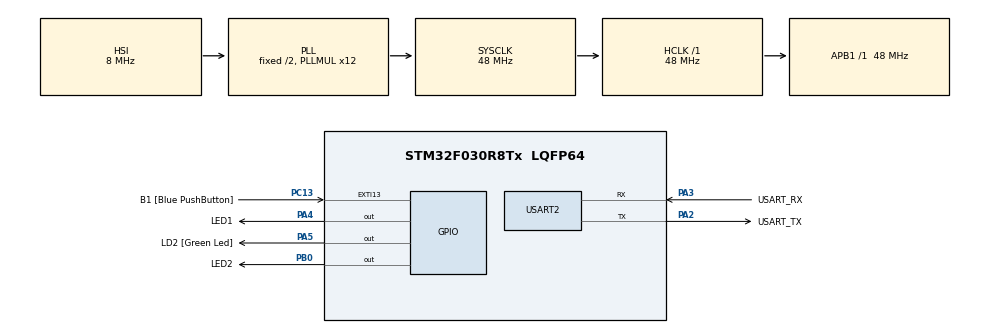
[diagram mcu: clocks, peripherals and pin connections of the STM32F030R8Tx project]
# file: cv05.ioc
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Dma.Request0=USART2_RX
Dma.USART2_RX.0.Direction=DMA_PERIPH_TO_MEMORY
Dma.USART2_RX.0.Instance=DMA1_Channel5
Dma.USART2_RX.0.MemDataAlignment=DMA_MDATAALIGN_BYTE
Dma.USART2_RX.0.MemInc=DMA_MINC_ENABLE
Dma.USART2_RX.0.Mode=DMA_CIRCULAR
Dma.USART2_RX.0.PeriphDataAlignment=DMA_PDATAALIGN_BYTE
Dma.USART2_RX.0.PeriphInc=DMA_PINC_DISABLE
Dma.USART2_RX.0.Priority=DMA_PRIORITY_LOW
Mcu.Family=STM32F0
Mcu.Name=STM32F030R8Tx
Mcu.Package=LQFP64
NVIC.DMA1_Channel4_5_IRQn=true\:0\:0\:false\:false\:true\:false\:true
PA13.GPIO_Label=TMS
PA13.Mode=Serial_Wire
PA13.Signal=SYS_SWDIO
PA14.GPIO_Label=TCK
PA14.Mode=Serial_Wire
PA14.Signal=SYS_SWCLK
PA2.GPIO_Label=USART_TX
PA2.GPIO_Mode=GPIO_MODE_AF_PP
PA2.GPIO_PuPd=GPIO_NOPULL
PA2.GPIO_Speed=GPIO_SPEED_FREQ_LOW
PA2.Mode=Asynchronous
PA2.Signal=USART2_TX
PA3.GPIO_Label=USART_RX
PA3.GPIO_Mode=GPIO_MODE_AF_PP
PA3.GPIO_PuPd=GPIO_NOPULL
PA3.GPIO_Speed=GPIO_SPEED_FREQ_LOW
PA3.Mode=Asynchronous
PA3.Signal=USART2_RX
PA4.GPIO_Label=LED1
PA4.Signal=GPIO_Output
PA5.GPIO_Label=LD2 [Green Led]
PA5.GPIO_Mode=GPIO_MODE_OUTPUT_PP
PA5.GPIO_PuPd=GPIO_NOPULL
PA5.GPIO_Speed=GPIO_SPEED_FREQ_LOW
PA5.Signal=GPIO_Output
PB0.GPIO_Label=LED2
PB0.Signal=GPIO_Output
PC13.GPIO_Label=B1 [Blue PushButton]
PC13.GPIO_ModeDefaultEXTI=GPIO_MODE_IT_FALLING
PC13.Signal=GPXTI13
PC14-OSC32_IN.Mode=LSE-External-Oscillator
PC14-OSC32_IN.Signal=RCC_OSC32_IN
PC15-OSC32_OUT.Mode=LSE-External-Oscillator
PC15-OSC32_OUT.Signal=RCC_OSC32_OUT
PF0-OSC_IN.Mode=HSE-External-Clock-Source
PF0-OSC_IN.Signal=RCC_OSC_IN
PF1-OSC_OUT.Signal=RCC_OSC_OUT
ProjectManager.HeapSize=0x200
ProjectManager.StackSize=0x400
ProjectManager.TargetToolchain=STM32CubeIDE
RCC.AHBFreq_Value=48000000
RCC.APB1Freq_Value=48000000
RCC.APB1TimFreq_Value=48000000
RCC.HCLKFreq_Value=48000000
RCC.PLLMUL=RCC_PLL_MUL12
RCC.SYSCLKFreq_VALUE=48000000
RCC.SYSCLKSource=RCC_SYSCLKSOURCE_PLLCLK
USART2.VirtualMode-Asynchronous=VM_ASYNC
board=NUCLEO-F030R8

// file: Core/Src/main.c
/* USER CODE BEGIN Header */
/**
  ******************************************************************************
  * @file           : main.c
  * @brief          : Main program body
  ******************************************************************************
  * @attention
  *
  * <h2><center>&copy; Copyright (c) 2020 STMicroelectronics.
  * All rights reserved.</center></h2>
  *
  * This software component is licensed by ST under BSD 3-Clause license,
  * the "License"; You may not use this file except in compliance with the
  * License. You may obtain a copy of the License at:
  *                        opensource.org/licenses/BSD-3-Clause
  *
  ******************************************************************************
  */
/* USER CODE END Header */

#include "main.h"

/* USER CODE BEGIN Includes */
#include <stdio.h>
#include <string.h>
/* USER CODE END Includes */

/* USER CODE BEGIN PD */
#define RX_BUFFER_LEN 64
#define CMD_BUFFER_LEN 256
#define TIMEOUT 2000
/* USER CODE END PD */

/* USER CODE BEGIN PM */
#define uart_rx_write_ptr (RX_BUFFER_LEN - hdma_usart2_rx.Instance->CNDTR)
/* USER CODE END PM */

UART_HandleTypeDef huart2;
DMA_HandleTypeDef hdma_usart2_rx;

void SystemClock_Config(void);
static void MX_GPIO_Init(void);
static void MX_DMA_Init(void);
static void MX_USART2_UART_Init(void);

/* USER CODE BEGIN 0 */
uint8_t c;
static uint8_t uart_rx_buf[RX_BUFFER_LEN];
static volatile uint16_t uart_rx_read_ptr = 0;
static uint16_t time;

int _write(int file, char const *buf, int n)
{
 /* stdout redirection to UART2 */
 HAL_UART_Transmit(&huart2, (uint8_t*)(buf), n, HAL_MAX_DELAY);
 return n;
}

static void uart_process_command(char *cmd)
{
	printf("prijato: '%s'\n", cmd);

	char *token;
	token = strtok(cmd, " ");
	if (strcasecmp(token, "HELLO") == 0) {
		printf("Komunikace OK\n");
	}
	else if (strcasecmp(token, "LED1") == 0)
	{
		printf("OK\n");
		token = strtok (NULL, " ");
		//token = strtok(cmd, " ");
		if (strcasecmp(token, "ON") == 0)
		{
			HAL_GPIO_WritePin(LED1_GPIO_Port, LED1_Pin, 1);
			printf("OK sviti\n");
		}
		else if (strcasecmp(token, "OFF") == 0)
		{
			HAL_GPIO_WritePin(LED1_GPIO_Port, LED1_Pin, 0);
			printf("OK nesviti\n");
		}
	}
	else if (strcasecmp(token, "LED2") == 0)
	printf("OK\n");
	{
		token = strtok (NULL, " ");
		//token = strtok(cmd, " ");
		if (strcasecmp(token, "ON") == 0)
		{
			HAL_GPIO_WritePin(LED2_GPIO_Port, LED2_Pin, 1);
			printf("OK sviti\n");
		}
		else if (strcasecmp(token, "OFF") == 0)
		{
			HAL_GPIO_WritePin(LED2_GPIO_Port, LED2_Pin, 0);
			printf("OK nesviti\n");
		}
	}

}

static void uart_byte_available(uint8_t c)
{

		static uint16_t cnt;

		static char data[CMD_BUFFER_LEN];
		if (cnt < CMD_BUFFER_LEN && (c >= 32 && c <= 126)) data[cnt++] = c;
		if (c == '\n' || c == '\r') {
			data[cnt] = '\0';
			uart_process_command(data);
			cnt = 0;
		}
		if (HAL_GetTick() > time + TIMEOUT)
		{
			for(uint16_t i; i < CMD_BUFFER_LEN; i++)
			{
				data[i] = 0;
			}
		}

}
/* USER CODE END 0 */

int main(void)
{

  /* MCU Configuration--------------------------------------------------------*/

  /* Reset of all peripherals, Initializes the Flash interface and the Systick. */
  HAL_Init();

  /* Configure the system clock */
  SystemClock_Config();

  /* Initialize all configured peripherals */
  MX_GPIO_Init();
  MX_DMA_Init();
  MX_USART2_UART_Init();
  /* USER CODE BEGIN 2 */
  HAL_UART_Receive_DMA(&huart2, uart_rx_buf, RX_BUFFER_LEN);
  /* USER CODE END 2 */

  /* Infinite loop */
  /* USER CODE BEGIN WHILE */
  while (1)
  {

	  while (uart_rx_read_ptr != uart_rx_write_ptr) {
		  uint8_t b = uart_rx_buf[uart_rx_read_ptr];
		  if (++uart_rx_read_ptr >= RX_BUFFER_LEN) uart_rx_read_ptr = 0; // increase read pointer
		  {
			  uart_byte_available(b); // process every received byte with the RX state machine
			  time = HAL_GetTick();
		  }
	  }

	  /* USER CODE END WHILE */

  }
}

void SystemClock_Config(void)
{
  RCC_OscInitTypeDef RCC_OscInitStruct = {0};
  RCC_ClkInitTypeDef RCC_ClkInitStruct = {0};

  /** Initializes the CPU, AHB and APB busses clocks
  */
  RCC_OscInitStruct.OscillatorType = RCC_OSCILLATORTYPE_HSI;
  RCC_OscInitStruct.HSIState = RCC_HSI_ON;
  RCC_OscInitStruct.HSICalibrationValue = RCC_HSICALIBRATION_DEFAULT;
  RCC_OscInitStruct.PLL.PLLState = RCC_PLL_ON;
  RCC_OscInitStruct.PLL.PLLSource = RCC_PLLSOURCE_HSI;
  RCC_OscInitStruct.PLL.PLLMUL = RCC_PLL_MUL12;
  RCC_OscInitStruct.PLL.PREDIV = RCC_PREDIV_DIV1;
  if (HAL_RCC_OscConfig(&RCC_OscInitStruct) != HAL_OK)
  {
    Error_Handler();
  }
  /** Initializes the CPU, AHB and APB busses clocks
  */
  RCC_ClkInitStruct.ClockType = RCC_CLOCKTYPE_HCLK|RCC_CLOCKTYPE_SYSCLK
                              |RCC_CLOCKTYPE_PCLK1;
  RCC_ClkInitStruct.SYSCLKSource = RCC_SYSCLKSOURCE_PLLCLK;
  RCC_ClkInitStruct.AHBCLKDivider = RCC_SYSCLK_DIV1;
  RCC_ClkInitStruct.APB1CLKDivider = RCC_HCLK_DIV1;

  if (HAL_RCC_ClockConfig(&RCC_ClkInitStruct, FLASH_LATENCY_1) != HAL_OK)
  {
    Error_Handler();
  }
}

static void MX_USART2_UART_Init(void)
{

  huart2.Instance = USART2;
  huart2.Init.BaudRate = 38400;
  huart2.Init.WordLength = UART_WORDLENGTH_8B;
  huart2.Init.StopBits = UART_STOPBITS_1;
  huart2.Init.Parity = UART_PARITY_NONE;
  huart2.Init.Mode = UART_MODE_TX_RX;
  huart2.Init.HwFlowCtl = UART_HWCONTROL_NONE;
  huart2.Init.OverSampling = UART_OVERSAMPLING_16;
  huart2.Init.OneBitSampling = UART_ONE_BIT_SAMPLE_DISABLE;
  huart2.AdvancedInit.AdvFeatureInit = UART_ADVFEATURE_NO_INIT;
  if (HAL_UART_Init(&huart2) != HAL_OK)
  {
    Error_Handler();
  }

}

static void MX_DMA_Init(void)
{

  /* DMA controller clock enable */
  __HAL_RCC_DMA1_CLK_ENABLE();

  /* DMA interrupt init */
  /* DMA1_Channel4_5_IRQn interrupt configuration */
  HAL_NVIC_SetPriority(DMA1_Channel4_5_IRQn, 0, 0);
  HAL_NVIC_EnableIRQ(DMA1_Channel4_5_IRQn);

}

static void MX_GPIO_Init(void)
{
  GPIO_InitTypeDef GPIO_InitStruct = {0};

  /* GPIO Ports Clock Enable */
  __HAL_RCC_GPIOC_CLK_ENABLE();
  __HAL_RCC_GPIOF_CLK_ENABLE();
  __HAL_RCC_GPIOA_CLK_ENABLE();
  __HAL_RCC_GPIOB_CLK_ENABLE();

  /*Configure GPIO pin Output Level */
  HAL_GPIO_WritePin(GPIOA, LED1_Pin|LD2_Pin, GPIO_PIN_RESET);

  /*Configure GPIO pin Output Level */
  HAL_GPIO_WritePin(LED2_GPIO_Port, LED2_Pin, GPIO_PIN_RESET);

  /*Configure GPIO pin : B1_Pin */
  GPIO_InitStruct.Pin = B1_Pin;
  GPIO_InitStruct.Mode = GPIO_MODE_IT_FALLING;
  GPIO_InitStruct.Pull = GPIO_NOPULL;
  HAL_GPIO_Init(B1_GPIO_Port, &GPIO_InitStruct);

  /*Configure GPIO pins : LED1_Pin LD2_Pin */
  GPIO_InitStruct.Pin = LED1_Pin|LD2_Pin;
  GPIO_InitStruct.Mode = GPIO_MODE_OUTPUT_PP;
  GPIO_InitStruct.Pull = GPIO_NOPULL;
  GPIO_InitStruct.Speed = GPIO_SPEED_FREQ_LOW;
  HAL_GPIO_Init(GPIOA, &GPIO_InitStruct);

  /*Configure GPIO pin : LED2_Pin */
  GPIO_InitStruct.Pin = LED2_Pin;
  GPIO_InitStruct.Mode = GPIO_MODE_OUTPUT_PP;
  GPIO_InitStruct.Pull = GPIO_NOPULL;
  GPIO_InitStruct.Speed = GPIO_SPEED_FREQ_LOW;
  HAL_GPIO_Init(LED2_GPIO_Port, &GPIO_InitStruct);

}

void Error_Handler(void)
{
}

/************************ (C) COPYRIGHT STMicroelectronics *****END OF FILE****/
